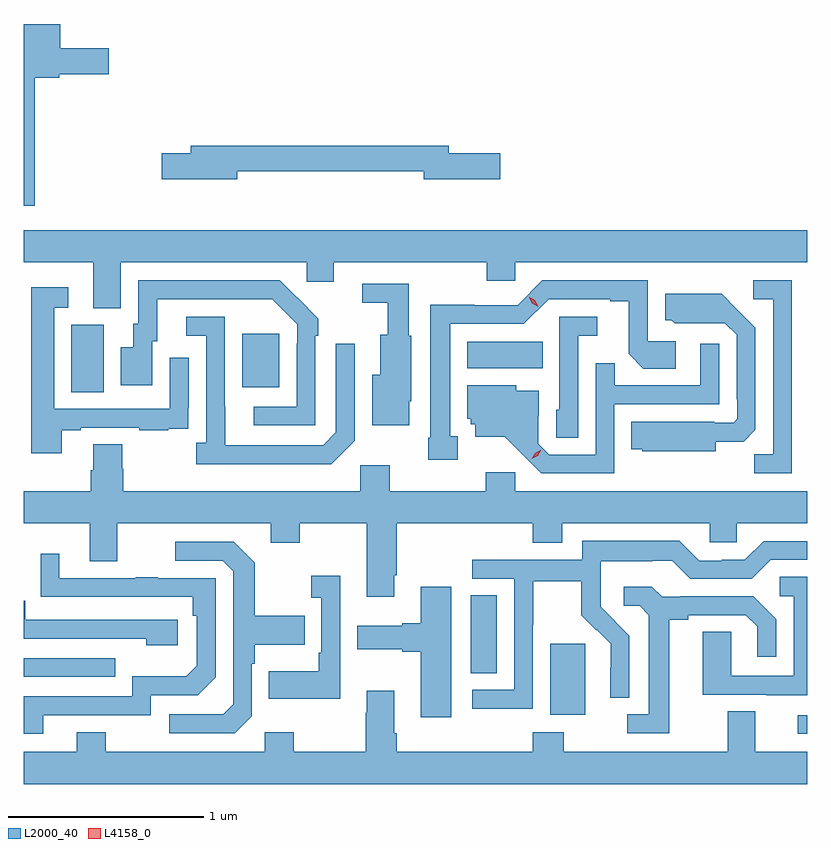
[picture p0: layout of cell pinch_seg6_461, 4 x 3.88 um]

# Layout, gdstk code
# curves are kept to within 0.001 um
import gdstk
lib = gdstk.Library(unit=1e-6, precision=1e-09)
def R(c, l, rs):  # rectangles x0, y0, x1, y1
    for r in rs: c.add(gdstk.rectangle(r[:2], r[2:], *l))
def P(c, l, *ps):  # polygons
    for p in ps: c.add(gdstk.Polygon(p, *l))
L2000_40 = (2000, 40)
L4158_0 = (4158, 0)

pinch_seg6_461 = lib.new_cell('pinch_seg6_461')
R(pinch_seg6_461, L2000_40, [(761.325,920.952,761.373,921.048), (760.061,921.05,760.24,921.411), (757.373,921.243,757.841,921.339), (759.656,921.262,759.787,921.659), (757.616,922.696,757.78,923.04), (758.489,922.721,758.677,922.996), (759.638,922.82,760.022,922.954)])
P(pinch_seg6_461, L2000_40, [(757.429,924.302),(757.554,924.302),(757.554,924.32),(757.807,924.32),(757.807,924.454),(757.558,924.454),(757.558,924.577),(757.373,924.577),(757.373,923.649),(757.429,923.649)],
  [(758.464,923.826),(759.416,923.826),(759.416,923.783),(759.805,923.783),(759.805,923.918),(759.544,923.918),(759.544,923.954),(758.225,923.954),(758.225,923.918),(758.076,923.918),(758.076,923.783),(758.464,923.783)],
  [(757.867,923.36),(758.817,923.36),(758.817,923.262),(758.956,923.262),(758.956,923.36),(759.736,923.36),(759.736,923.267),(759.882,923.267),(759.882,923.36),(761.373,923.36),(761.373,923.524),(757.373,923.524),(757.373,923.36),(757.727,923.36),(757.727,923.125),(757.867,923.125)],
  [(761.295,923.268),(761.097,923.268),(761.097,923.172),(761.199,923.172),(761.199,922.379),(761.104,922.379),(761.104,922.284),(761.295,922.284)],
  [(758.862,922.985),(758.877,922.985),(758.877,923.073),(758.68,923.268),(757.956,923.268),(757.956,923.046),(757.931,923.046),(757.931,922.927),(757.868,922.927),(757.868,922.731),(758.029,922.731),(758.029,922.956),(758.053,922.956),(758.053,923.172),(758.641,923.172),(758.769,923.043),(758.769,922.943),(758.766,922.943),(758.766,922.623),(758.547,922.623),(758.547,922.527),(758.862,922.527)],
  [(759.589,922.473),(759.55,922.473),(759.55,923.046),(759.927,923.046),(760.053,923.172),(760.367,923.172),(760.367,923.16),(760.461,923.16),(760.461,922.892),(760.537,922.816),(760.702,922.816),(760.702,922.956),(760.56,922.956),(760.56,923.268),(760.02,923.268),(759.894,923.142),(759.672,923.142),(759.672,923.144),(759.449,923.144),(759.449,922.465),(759.439,922.465),(759.439,922.353),(759.589,922.353)],
  [(759.34,922.65),(759.352,922.65),(759.352,922.986),(759.339,922.986),(759.339,923.25),(759.102,923.25),(759.102,923.153),(759.231,923.153),(759.231,922.99),(759.194,922.99),(759.194,922.786),(759.152,922.786),(759.152,922.529),(759.34,922.529)],
  [(757.567,922.503),(757.663,922.503),(757.663,922.515),(757.963,922.515),(757.963,922.503),(758.111,922.503),(758.111,922.509),(758.213,922.509),(758.213,922.618),(758.214,922.618),(758.214,922.873),(758.118,922.873),(758.118,922.611),(757.527,922.611),(757.527,923.127),(757.6,923.127),(757.6,923.233),(757.411,923.233),(757.411,922.386),(757.567,922.386)],
  [(760.906,922.445),(761.05,922.445),(761.109,922.504),(761.109,923.026),(760.937,923.2),(760.649,923.2),(760.649,923.064),(760.68,923.064),(760.696,923.048),(760.953,923.049),(761.013,922.989),(761.013,922.66),(761.016,922.66),(761.016,922.56),(760.998,922.542),(760.898,922.542),(760.898,922.546),(760.474,922.546),(760.474,922.406),(760.53,922.406),(760.53,922.394),(760.906,922.394)],
  [(760.203,922.985),(760.3,922.985),(760.3,923.082),(760.107,923.082),(760.107,922.608),(760.092,922.608),(760.092,922.465),(760.203,922.465)],
  [(759.063,922.449),(759.063,922.945),(758.967,922.945),(758.967,922.491),(758.901,922.425),(758.401,922.425),(758.4,923.082),(758.202,923.082),(758.202,922.986),(758.304,922.986),(758.304,922.438),(758.253,922.438),(758.253,922.328),(758.942,922.328)],
  [(760.389,922.635),(760.923,922.635),(760.923,922.945),(760.827,922.945),(760.827,922.731),(760.391,922.731),(760.391,922.844),(760.293,922.844),(760.293,922.377),(760.056,922.377),(759.999,922.434),(759.999,922.576),(760.003,922.576),(760.003,922.705),(759.888,922.705),(759.888,922.732),(759.638,922.732),(759.638,922.56),(759.654,922.56),(759.654,922.533),(759.677,922.533),(759.677,922.469),(759.829,922.469),(760.016,922.284),(760.389,922.284)],
  [(759.265,921.763),(759.278,921.763),(759.278,922.028),(759.971,922.028),(759.971,921.929),(760.123,921.929),(760.123,922.028),(760.875,922.028),(760.875,921.93),(761.013,921.93),(761.013,922.028),(761.373,922.028),(761.373,922.192),(759.882,922.192),(759.882,922.288),(759.731,922.288),(759.731,922.192),(759.242,922.192),(759.242,922.324),(759.09,922.324),(759.09,922.192),(757.88,922.192),(757.88,922.305),(757.875,922.305),(757.875,922.43),(757.727,922.43),(757.727,922.298),(757.715,922.298),(757.715,922.192),(757.373,922.192),(757.373,922.028),(757.709,922.028),(757.709,921.834),(757.849,921.834),(757.849,922.028),(758.633,922.028),(758.633,921.929),(758.781,921.929),(758.781,922.028),(759.125,922.028),(759.125,921.651),(759.265,921.651)],
  [(759.972,921.508),(759.975,921.508),(759.975,921.732),(760.219,921.732),(760.219,921.557),(760.296,921.48),(760.299,921.483),(760.37,921.413),(760.37,921.29),(760.368,921.29),(760.368,921.136),(760.464,921.136),(760.464,921.454),(760.318,921.602),(760.318,921.699),(760.32,921.699),(760.32,921.833),(760.583,921.833),(760.583,921.837),(760.683,921.837),(760.776,921.744),(761.091,921.744),(761.187,921.84),(761.373,921.84),(761.373,921.936),(761.151,921.936),(761.055,921.84),(760.937,921.84),(760.937,921.837),(760.821,921.837),(760.721,921.937),(760.224,921.937),(760.224,921.84),(759.663,921.84),(759.663,921.744),(759.876,921.744),(759.876,921.177),(759.663,921.177),(759.663,921.079),(759.972,921.079)],
  [(758.538,921.042),(758.538,921.311),(758.551,921.311),(758.551,921.407),(758.807,921.407),(758.807,921.555),(758.551,921.555),(758.551,921.827),(758.445,921.933),(758.145,921.933),(758.145,921.837),(758.388,921.837),(758.442,921.783),(758.442,921.102),(758.391,921.051),(758.115,921.051),(758.115,920.955),(758.451,920.955)],
  [(757.471,921.048),(758.022,921.048),(758.022,921.15),(758.262,921.15),(758.352,921.24),(758.352,921.747),(758.057,921.747),(758.057,921.752),(757.945,921.752),(757.945,921.747),(757.555,921.747),(757.555,921.871),(757.459,921.871),(757.459,921.652),(758.236,921.651),(758.236,921.554),(758.256,921.554),(758.256,921.3),(758.203,921.247),(757.926,921.247),(757.926,921.144),(757.373,921.144),(757.373,920.952),(757.471,920.952)],
  [(758.988,921.76),(758.841,921.76),(758.841,921.647),(758.892,921.647),(758.892,921.367),(758.88,921.367),(758.88,921.271),(758.623,921.271),(758.623,921.131),(758.988,921.131)],
  [(761.373,921.755),(761.232,921.755),(761.232,921.654),(761.304,921.654),(761.304,921.249),(760.986,921.249),(760.986,921.473),(760.841,921.473),(760.841,921.153),(761.165,921.153),(761.165,921.149),(761.373,921.149)],
  [(760.669,921.536),(760.765,921.536),(760.765,921.558),(761.06,921.558),(761.117,921.501),(761.117,921.345),(761.214,921.345),(761.214,921.538),(761.098,921.654),(760.726,921.654),(760.726,921.651),(760.632,921.651),(760.58,921.703),(760.437,921.703),(760.437,921.606),(760.518,921.606),(760.565,921.559),(760.565,921.051),(760.455,921.051),(760.455,920.955),(760.669,920.955)],
  [(759.556,921.703),(759.401,921.703),(759.401,921.518),(759.305,921.518),(759.305,921.505),(759.075,921.505),(759.075,921.383),(759.305,921.383),(759.305,921.371),(759.401,921.371),(759.401,921.036),(759.556,921.036)],
  [(758.158,921.534),(757.381,921.534),(757.381,921.631),(757.373,921.631),(757.373,921.438),(757.997,921.438),(757.997,921.404),(758.158,921.404)],
  [(761.373,920.86),(761.107,920.86),(761.107,921.068),(760.967,921.068),(760.967,920.86),(760.131,920.86),(760.131,920.959),(759.971,920.959),(759.971,920.86),(759.278,920.86),(759.278,920.956),(759.265,920.956),(759.265,921.172),(759.125,921.172),(759.125,921.059),(759.118,921.059),(759.118,920.86),(758.751,920.86),(758.751,920.959),(758.604,920.959),(758.604,920.86),(757.791,920.86),(757.791,920.959),(757.643,920.959),(757.643,920.86),(757.373,920.86),(757.373,920.696),(761.373,920.696)])
P(pinch_seg6_461, L4158_0, [(759.967,922.357),(759.967,922.357),(759.984,922.386),(760.015,922.402),(760.015,922.402),(760.015,922.402),(759.998,922.372),(759.967,922.357)],
  [(760,923.132),(759.968,923.152),(759.951,923.185),(759.951,923.185),(759.952,923.185),(759.983,923.166),(760,923.133),(760,923.132)])

lib.write_gds('pinch_seg6_461.gds')
